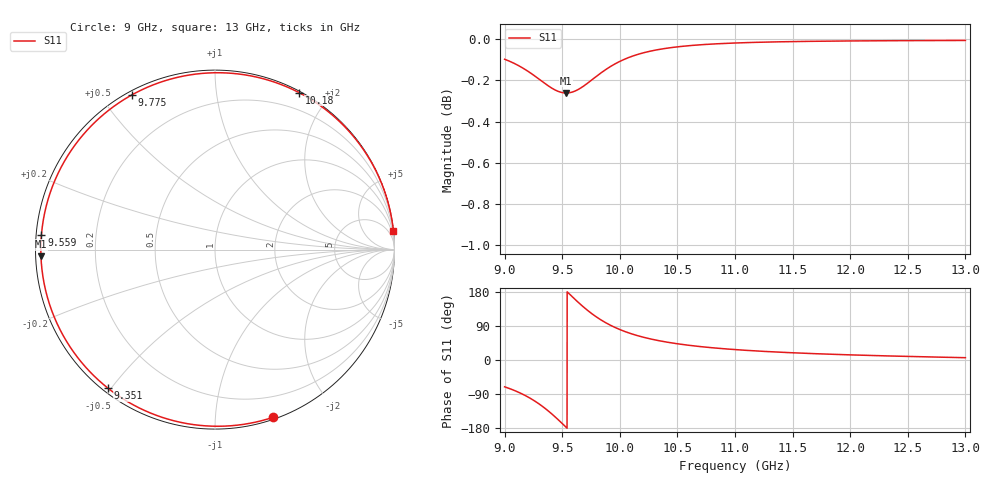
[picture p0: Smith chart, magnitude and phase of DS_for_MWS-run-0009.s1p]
! TOUCHSTONE file generated by CST DESIGN STUDIO
! Date and time: Tue Feb  4 13:40:12 2025
! Project name: C:\Work\MatlabApps\UnitCellOptimizationMatlab\CST\unitcell.cst
! Tree item: Tasks\Sweep1\SPara1\S-Parameters
! Header version: 2024
! Port assignment regex: !\s*Touchstone port\s*([0-9]+)\s*=\s*(CST MWS port|CST DES external port|CST DES block port)\s*(.+)\s* \(\"(.*)\"\)(\s*mode\s*([0-9]+))?.*
! Touchstone port assignment:
! Touchstone port 1 = CST DES external port 1 ("")
# GHz S MA R 50
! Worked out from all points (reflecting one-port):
!   4001 points, 9 GHz to 13 GHz, reference 50 ohm
!   lowest |S11| = -0.3 dB at 9.535 GHz (marker M1), VSWR 66.60, Z = 0.751 - j0.973 ohm
!   phase of S11 starts at -71 deg and turns -283 deg over the sweep
!   S11 on the Smith chart (normalised r, x): 9 GHz: 0.02, -1.41; 9.351 GHz: 0.02, -0.49; 9.559 GHz: 0.01, +0.04; 9.775 GHz: 0.01, +0.60; 10.18 GHz: 0.02, +1.67; 13 GHz: 0, +19
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9  0.9889 -70.8
9.099  0.9861 -82.2
9.207  0.9821 -98.3
9.283  0.9787 -112.5
9.351  0.9756 -127.6
9.422  0.9726 -145.6
9.463  0.9714 -156.9
9.5  0.9706 -167.5
9.535  0.9704 -177.8
9.559  0.9705 175.2
9.613  0.9715 159.5
9.673  0.9736 143.0
9.724  0.9759 130.0
9.775  0.9784 118.3
9.823  0.9808 108.4
9.875  0.9831 98.8
9.933  0.9854 89.6
10  0.9877 80.4
10.088  0.9901 70.5
10.183  0.9921 61.8
10.328  0.9942 51.7
10.5  0.9958 42.8
10.721  0.9971 34.7
11  0.998 27.5
11.5  0.9987 19.1
12  0.9991 13.5
12.5  0.9993 9.4
13  0.9994 6.1
